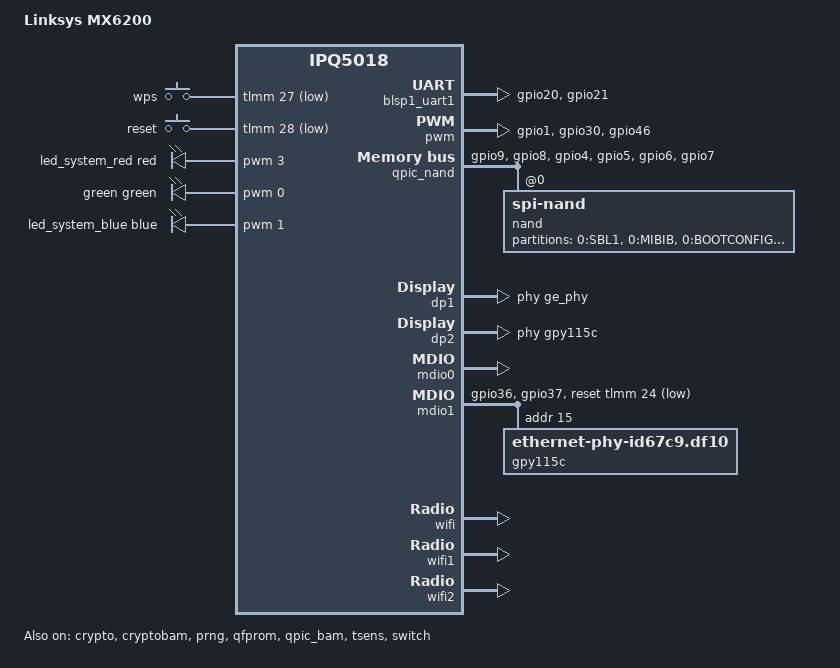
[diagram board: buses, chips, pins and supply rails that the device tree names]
/dts-v1/;

#include "ipq5018.dtsi"
#include "ipq5018-ess.dtsi"
#include "ipq5018-qcn6122.dtsi"

#include <dt-bindings/gpio/gpio.h>
#include <dt-bindings/input/input.h>
#include <dt-bindings/leds/common.h>

/ {
	model = "Linksys MX6200";
	compatible = "linksys,mx6200", "qcom,ipq5018";

	aliases {
		led-boot = &led_system_blue;
		led-failsafe = &led_system_red;
		led-running = &led_system_blue;
		led-upgrade = &led_system_red;
		serial0 = &blsp1_uart1;
	};

	chosen {
		bootargs-append = " root=/dev/ubiblock0_1 coherent_pool=2M";
		stdout-path = "serial0:115200n8";
	};

	keys {
		compatible = "gpio-keys";
		pinctrl-0 = <&button_pins>;
		pinctrl-names = "default";

		wps-button {
			label = "wps";
			gpios = <&tlmm 27 GPIO_ACTIVE_LOW>;
			linux,code = <KEY_WPS_BUTTON>;
		};

		reset-button {
			label = "reset";
			gpios = <&tlmm 28 GPIO_ACTIVE_LOW>;
			linux,code = <KEY_RESTART>;
		};
	};

	leds {
		compatible = "pwm-leds";

		led_system_red: red {
			color = <LED_COLOR_ID_RED>;
			function = LED_FUNCTION_POWER;
			pwms = <&pwm 3 1250000>;
			max-brightness = <255>;
		};

		green {
			color = <LED_COLOR_ID_GREEN>;
			function = LED_FUNCTION_POWER;
			pwms = <&pwm 0 1250000>;
			max-brightness = <255>;
		};

		led_system_blue: blue {
			color = <LED_COLOR_ID_BLUE>;
			function = LED_FUNCTION_POWER;
			pwms = <&pwm 1 1250000>;
			max-brightness = <255>;
		};
	};
};

&sleep_clk {
	clock-frequency = <32000>;
};

&xo_board_clk {
	clock-div = <4>;
	clock-mult = <1>;
};

&blsp1_uart1 {
	status = "okay";

	pinctrl-0 = <&serial_0_pins>;
	pinctrl-names = "default";
};

&crypto {
	status = "okay";
};

&cryptobam {
	status = "okay";
};

&prng {
	status = "okay";
};

&pwm {
	status = "okay";

	#pwm-cells = <2>;
	pinctrl-0 = <&pwm_pins>;
	pinctrl-names = "default";
};

&qfprom {
	status = "okay";
};

&qpic_bam {
	status = "okay";
};

&qpic_nand {
	pinctrl-0 = <&qpic_pins>;
	pinctrl-names = "default";
	status = "okay";

	nand@0 {
		compatible = "spi-nand";
		reg = <0>;
		nand-ecc-engine = <&qpic_nand>;
		nand-bus-width = <8>;

		partitions {
			compatible = "fixed-partitions";
			#address-cells = <1>;
			#size-cells = <1>;

			partition@0 {
				label = "0:SBL1";
				reg = <0x00000000 0x100000>;
				read-only;
			};

			partition@100000 {
				label = "0:MIBIB";
				reg = <0x00100000 0x100000>;
				read-only;
			};

			partition@200000 {
				label = "0:BOOTCONFIG";
				reg = <0x00200000 0x40000>;
			};

			partition@240000 {
				label = "0:BOOTCONFIG1";
				reg = <0x00240000 0x40000>;
			};

			partition@280000 {
				label = "0:QSEE";
				reg = <0x00280000 0x200000>;
				read-only;
			};

			partition@480000 {
				label = "0:QSEE_1";
				reg = <0x00480000 0x200000>;
				read-only;
			};

			partition@680000 {
				label = "0:DEVCFG";
				reg = <0x00680000 0x100000>;
				read-only;
			};

			partition@780000 {
				label = "0:DEVCFG_1";
				reg = <0x00780000 0x100000>;
				read-only;
			};

			partition@880000 {
				label = "0:CDT";
				reg = <0x00880000 0x100000>;
				read-only;
			};

			partition@980000 {
				label = "0:CDT_1";
				reg = <0x00980000 0x100000>;
				read-only;
			};

			partition@a80000 {
				label = "ppinfo";
				reg = <0x00a80000 0x100000>;
				read-only;
			};

			partition@b80000 {
				label = "0:APPSBL";
				reg = <0x00b80000 0x280000>;
			};

			partition@e00000 {
				label = "0:APPSBL_1";
				reg = <0x00e00000 0x280000>;
			};

			partition@1080000 {
				label = "0:ART";
				reg = <0x01080000 0x200000>;
				read-only;
			};

			partition@1280000 {
				label = "0:TRAINING";
				reg = <0x01280000 0x100000>;
				read-only;
			};

			partition@1380000 {
				label = "u_env";
				reg = <0x01380000 0x100000>;
			};

			partition@1480000 {
				label = "s_env";
				reg = <0x01480000 0x100000>;
			};

			partition@1580000 {
				label = "devinfo";
				reg = <0x01580000 0x100000>;
				read-only;

				nvmem-layout {
					compatible = "ascii-eq-delim-env";
					#address-cells = <1>;
					#size-cells = <1>;

					hw_mac_addr: hw_mac_addr {
						compatible = "mac-base";
						#nvmem-cell-cells = <1>;
					};
				};
			};

			partition@1680000 {
				label = "rootfs";
				reg = <0x01680000 0x3200000>;
			};

			partition@4880000 {
				label = "rootfs_1";
				reg = <0x04880000 0x3200000>;
			};

			partition@7a80000 {
				label = "sysdiag";
				reg = <0x07a80000 0x200000>;
				read-only;
			};

			partition@7c80000 {
				label = "syscfg";
				reg = <0x07c80000 0x8200000>;
				read-only;
			};
		};
	};
};

&tlmm {
	button_pins: button-state {
		pins = "gpio27", "gpio28";
		function = "gpio";
		drive-strength = <8>;
		bias-pull-up;
	};

	mdio1_pins: mdio-state {
		mdc-pins {
			pins = "gpio36";
			function = "mdc";
			drive-strength = <8>;
			bias-pull-up;
		};

		mdio-pins {
			pins = "gpio37";
			function = "mdio";
			drive-strength = <8>;
			bias-pull-up;
		};
	};

	pwm_pins: pwm-state {
		mux_1 {
			pins = "gpio1";
			function = "pwm1";
			drive-strength = <8>;
		};

		mux_2 {
			pins = "gpio30";
			function = "pwm3";
			drive-strength = <8>;
		};

		mux_3 {
			pins = "gpio46";
			function = "pwm0";
			drive-strength = <8>;
		};
	};

	qpic_pins: qpic-state {
		clock-pins {
			pins = "gpio9";
			function = "qspi_clk";
			drive-strength = <8>;
			bias-disable;
		};

		cs-pins {
			pins = "gpio8";
			function = "qspi_cs";
			drive-strength = <8>;
			bias-disable;
		};

		data-pins {
			pins = "gpio4", "gpio5", "gpio6", "gpio7";
			function = "qspi_data";
			drive-strength = <8>;
			bias-disable;
		};
	};

	serial_0_pins: uart0-state {
		pins = "gpio20", "gpio21";
		function = "blsp0_uart0";
		bias-disable;
	};
};

&tsens {
	status = "okay";
};

/*
* =================================================================
*     _______________________             ____________
*    |        IPQ5018        |           |            |
*    | +------+   +--------+ |           | +--------+ |
*    | | MAC0 |---| GE Phy |-+--- MDI ---+ | RJ45   | +
*    | +------+   +--------+ |           | +--------+ |
*    |                       |           |____________|
*    |                       |            _______________________
*    |                       |           |    MXL GPY115C Phy    |
*    | +------+   +--------+ |           | +--------+   +------+ |
*    | | MAC1 |---| Uniphy |-+-- SGMII---+ | Phy    |---| RJ45 | |
*    | +------+   +--------+ |           | +--------+   +------+ |
*    |_______________________|           |_______________________|
*
* =================================================================
 */

&switch {
	status = "okay";

	switch_mac_mode = <MAC_MODE_SGMII_CHANNEL0>;

	qcom,port_phyinfo {
		// MAC0 -> GE Phy -> MDI --> RJ45
		port@0 {
			port_id = <1>;
			mdiobus = <&mdio0>;
			phy_address = <7>;
		};

		// MAC1 ---SGMII---> MaxLinear PHY -> RJ45
		port@1 {
			port_id = <2>;
			mdiobus = <&mdio1>;
			phy_address = <15>;
			port_mac_sel = "QGMAC_PORT";
		};
	};
};

// MAC0 ---MDI---> IPQ5018 GE PHY
&dp1 {
	status = "okay";

	label = "lan";
	phy-handle = <&ge_phy>;
	nvmem-cells = <&hw_mac_addr 1>;
	nvmem-cell-names = "mac-address";
};

// MAC1 ---SGMII---> MXL Phy
&dp2 {
	status = "okay";

	label = "wan";
	phy-handle = <&gpy115c>;
	nvmem-cells = <&hw_mac_addr 0>;
	nvmem-cell-names = "mac-address";
};

&mdio0 {
	status = "okay";
};

&mdio1 {
	status = "okay";

	pinctrl-0 = <&mdio1_pins>;
	pinctrl-names = "default";
	reset-gpios = <&tlmm 24 GPIO_ACTIVE_LOW>;

	// Maxlinear Ethernet GPY115C
	gpy115c: ethernet-phy@f {
		compatible = "ethernet-phy-id67c9.df10";
		reg = <15>;
	};
};

&q6_region {
	reg = <0x0 0x4b000000 0x0 0x4d00000>;
};

&wifi {
	status = "okay";

	qcom,rproc = <&q6_wcss_pd1>;
	qcom,ath11k-calibration-variant = "Linksys-MX6200";
	qcom,ath11k-fw-memory-mode = <1>;
	qcom,bdf-addr = <0x4c400000>;
};

&wifi1 {
	status = "okay";

	qcom,rproc = <&q6_wcss_pd2>;
	qcom,userpd-subsys-name = "q6v5_wcss_userpd2";
	qcom,ath11k-calibration-variant = "Linksys-MX6200-5G";
	qcom,ath11k-fw-memory-mode = <1>;
	qcom,m3-dump-addr = <0x4df00000>;

	ieee80211-freq-limit = <5150000 5710000>;
};

&wifi2 {
	status = "okay";

	qcom,rproc = <&q6_wcss_pd3>;
	qcom,userpd-subsys-name = "q6v5_wcss_userpd3";
	qcom,ath11k-calibration-variant = "Linksys-MX6200-6G";
	qcom,ath11k-fw-memory-mode = <1>;
	qcom,bdf-addr = <0x4e500000>;
	qcom,m3-dump-addr = <0x4f200000>;

	ieee80211-freq-limit = <5945000 6425000>;
};
